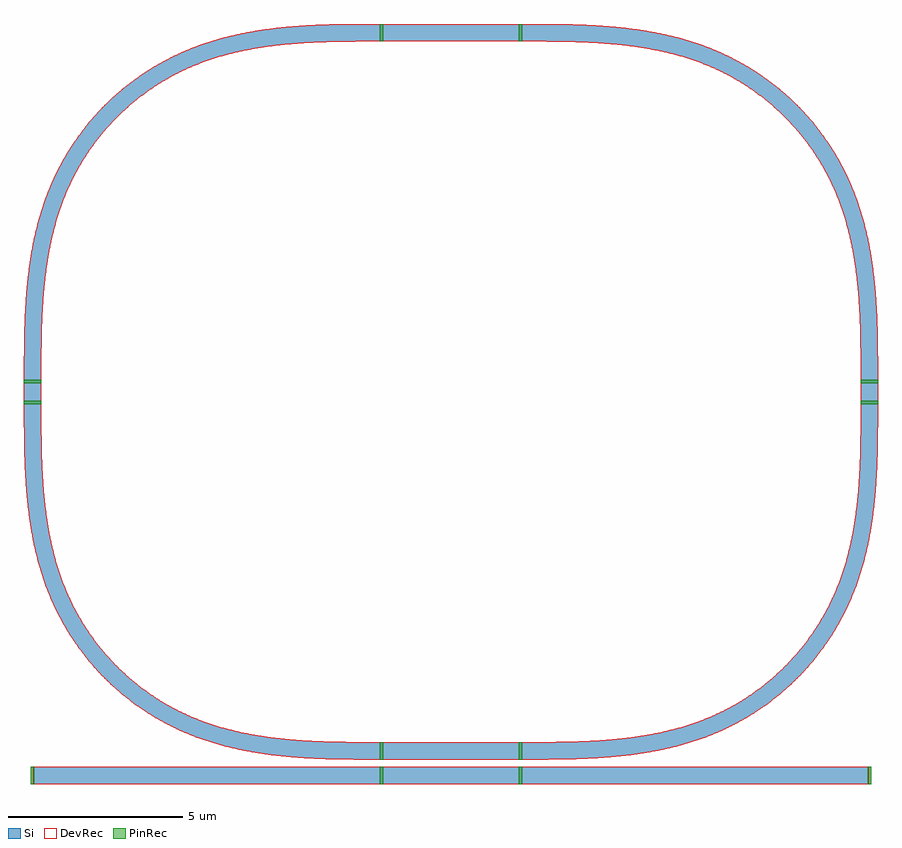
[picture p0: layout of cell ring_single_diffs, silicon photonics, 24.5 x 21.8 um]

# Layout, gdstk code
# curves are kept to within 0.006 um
import gdstk
lib = gdstk.Library(unit=1e-6, precision=1e-09)
def R(c, l, rs):  # rectangles x0, y0, x1, y1
    for r in rs: c.add(gdstk.rectangle(r[:2], r[2:], *l))
def P(c, l, *ps):  # polygons
    for p in ps: c.add(gdstk.Polygon(p, *l))
Si = (1, 0)
PinRec = (1, 10)
DevRec = (68, 0)

ring_single_old = lib.new_cell('ring_single_old')
R(ring_single_old, Si, [(-14,-0.25,-4,0.25), (-4,-0.25,0,0.25), (0,-0.25,10,0.25), (-4,0.45,0,0.95), (-14.25,10.7,-13.75,11.3), (9.75,10.7,10.25,11.3), (-4,21.05,0,21.55)])
P(ring_single_old, Si, [(-4.047,0.45),(-4.935,0.453),(-5.686,0.47),(-6.346,0.504),(-7.007,0.564),(-7.573,0.642),(-8.229,0.769),(-8.739,0.901),(-9.261,1.072),(-7.041,1.072),(-6.449,1.013),(-5.761,0.973),(-4.929,0.953),(-4,0.95),(-4,0.45)],
  [(-9.287,1.082),(-9.691,1.244),(-10.13,1.454),(-10.512,1.667),(-10.841,1.876),(-11.196,2.131),(-11.536,2.407),(-11.859,2.703),(-12.117,2.968),(-11.412,2.968),(-11.175,2.756),(-10.857,2.501),(-10.599,2.316),(-10.333,2.144),(-10.059,1.983),(-9.778,1.836),(-9.449,1.684),(-9.156,1.566),(-8.729,1.42),(-8.206,1.277),(-7.583,1.15),(-7.041,1.072),(-9.261,1.072)],
  [(-12.13,2.982),(-12.479,3.389),(-12.797,3.819),(-13.033,4.188),(-13.29,4.657),(-13.513,5.144),(-13.683,5.594),(-13.838,6.1),(-13.962,6.611),(-13.45,6.611),(-13.306,6.057),(-13.134,5.544),(-12.961,5.127),(-12.717,4.641),(-12.434,4.176),(-12.116,3.735),(-11.763,3.321),(-11.412,2.968),(-12.117,2.968)],
  [(-13.972,6.658),(-14.058,7.127),(-14.113,7.504),(-14.156,7.882),(-14.196,8.354),(-14.236,9.202),(-14.25,10.7),(-13.75,10.7),(-13.74,9.354),(-13.721,8.801),(-13.694,8.343),(-13.654,7.886),(-13.605,7.478),(-13.55,7.117),(-13.45,6.611),(-13.962,6.611)],
  [(0.047,0.45),(0.935,0.453),(1.686,0.47),(2.346,0.504),(3.007,0.564),(3.573,0.642),(4.229,0.769),(4.739,0.901),(5.261,1.072),(3.041,1.072),(2.449,1.013),(1.761,0.973),(0.929,0.953),(0,0.95),(0,0.45)],
  [(5.287,1.082),(5.691,1.244),(6.13,1.454),(6.512,1.667),(6.841,1.876),(7.196,2.131),(7.536,2.407),(7.859,2.703),(8.117,2.968),(7.412,2.968),(7.175,2.756),(6.857,2.501),(6.599,2.316),(6.333,2.144),(6.059,1.983),(5.778,1.836),(5.449,1.684),(5.156,1.566),(4.729,1.42),(4.206,1.277),(3.583,1.15),(3.041,1.072),(5.261,1.072)],
  [(8.13,2.982),(8.479,3.389),(8.797,3.819),(9.033,4.188),(9.29,4.657),(9.513,5.144),(9.683,5.594),(9.838,6.1),(9.962,6.611),(9.45,6.611),(9.306,6.057),(9.134,5.544),(8.961,5.127),(8.717,4.641),(8.434,4.176),(8.116,3.735),(7.763,3.321),(7.412,2.968),(8.117,2.968)],
  [(9.972,6.658),(10.058,7.127),(10.113,7.504),(10.156,7.882),(10.196,8.354),(10.236,9.202),(10.25,10.7),(9.75,10.7),(9.74,9.354),(9.721,8.801),(9.694,8.343),(9.654,7.886),(9.605,7.478),(9.55,7.117),(9.45,6.611),(9.962,6.611)],
  [(10.25,11.347),(10.247,12.235),(10.23,12.986),(10.196,13.646),(10.136,14.307),(10.058,14.873),(9.931,15.529),(9.799,16.039),(9.628,16.561),(9.628,14.341),(9.687,13.749),(9.727,13.061),(9.747,12.229),(9.75,11.3),(10.25,11.3)],
  [(9.618,16.587),(9.456,16.991),(9.246,17.43),(9.033,17.812),(8.824,18.141),(8.569,18.496),(8.293,18.836),(7.997,19.159),(7.732,19.417),(7.732,18.712),(7.944,18.475),(8.199,18.157),(8.384,17.899),(8.556,17.633),(8.717,17.359),(8.864,17.078),(9.016,16.749),(9.134,16.456),(9.28,16.029),(9.423,15.506),(9.55,14.883),(9.628,14.341),(9.628,16.561)],
  [(7.718,19.43),(7.311,19.779),(6.881,20.097),(6.512,20.333),(6.043,20.59),(5.556,20.813),(5.106,20.983),(4.6,21.138),(4.089,21.262),(4.089,20.75),(4.643,20.606),(5.156,20.434),(5.573,20.261),(6.059,20.017),(6.524,19.734),(6.965,19.416),(7.379,19.063),(7.732,18.712),(7.732,19.417)],
  [(4.042,21.272),(3.573,21.358),(3.196,21.413),(2.818,21.456),(2.346,21.496),(1.498,21.536),(0,21.55),(0,21.05),(1.346,21.04),(1.899,21.021),(2.357,20.994),(2.814,20.954),(3.222,20.905),(3.583,20.85),(4.089,20.75),(4.089,21.262)],
  [(-4.047,21.55),(-4.935,21.547),(-5.686,21.53),(-6.346,21.496),(-7.007,21.436),(-7.573,21.358),(-8.229,21.231),(-8.739,21.099),(-9.261,20.928),(-7.041,20.928),(-6.449,20.987),(-5.761,21.027),(-4.929,21.047),(-4,21.05),(-4,21.55)],
  [(-9.287,20.918),(-9.691,20.756),(-10.13,20.546),(-10.512,20.333),(-10.841,20.124),(-11.196,19.869),(-11.536,19.593),(-11.859,19.297),(-12.117,19.032),(-11.412,19.032),(-11.175,19.244),(-10.857,19.499),(-10.599,19.684),(-10.333,19.856),(-10.059,20.017),(-9.778,20.164),(-9.449,20.316),(-9.156,20.434),(-8.729,20.58),(-8.206,20.723),(-7.583,20.85),(-7.041,20.928),(-9.261,20.928)],
  [(-12.13,19.018),(-12.479,18.611),(-12.797,18.181),(-13.033,17.812),(-13.29,17.343),(-13.513,16.856),(-13.683,16.406),(-13.838,15.9),(-13.962,15.389),(-13.45,15.389),(-13.306,15.943),(-13.134,16.456),(-12.961,16.873),(-12.717,17.359),(-12.434,17.824),(-12.116,18.265),(-11.763,18.679),(-11.412,19.032),(-12.117,19.032)],
  [(-13.972,15.342),(-14.058,14.873),(-14.113,14.496),(-14.156,14.118),(-14.196,13.646),(-14.236,12.798),(-14.25,11.3),(-13.75,11.3),(-13.74,12.646),(-13.721,13.199),(-13.694,13.657),(-13.654,14.114),(-13.605,14.522),(-13.55,14.883),(-13.45,15.389),(-13.962,15.389)])
ring_single_old.add(gdstk.FlexPath([(-4.05,0.7),(-3.95,0.7)], 0.5, ends="flush", simple_path=True, layer=1, datatype=10))  # PinRec
ring_single_old.add(gdstk.FlexPath([(-14,10.65),(-14,10.75)], 0.5, ends="flush", simple_path=True, layer=1, datatype=10))  # PinRec
ring_single_old.add(gdstk.FlexPath([(-4.05,0),(-3.95,0)], 0.5, ends="flush", simple_path=True, layer=1, datatype=10))  # PinRec
ring_single_old.add(gdstk.FlexPath([(-13.95,0),(-14.05,0)], 0.5, ends="flush", simple_path=True, layer=1, datatype=10))  # PinRec
ring_single_old.add(gdstk.FlexPath([(0.05,0.7),(-0.05,0.7)], 0.5, ends="flush", simple_path=True, layer=1, datatype=10))  # PinRec
ring_single_old.add(gdstk.FlexPath([(10,10.65),(10,10.75)], 0.5, ends="flush", simple_path=True, layer=1, datatype=10))  # PinRec
ring_single_old.add(gdstk.FlexPath([(0.05,0),(-0.05,0)], 0.5, ends="flush", simple_path=True, layer=1, datatype=10))  # PinRec
ring_single_old.add(gdstk.FlexPath([(9.95,0),(10.05,0)], 0.5, ends="flush", simple_path=True, layer=1, datatype=10))  # PinRec
ring_single_old.add(gdstk.FlexPath([(-3.95,0.7),(-4.05,0.7)], 0.5, ends="flush", simple_path=True, layer=1, datatype=10))  # PinRec
ring_single_old.add(gdstk.FlexPath([(-0.05,0.7),(0.05,0.7)], 0.5, ends="flush", simple_path=True, layer=1, datatype=10))  # PinRec
ring_single_old.add(gdstk.FlexPath([(-3.95,0),(-4.05,0)], 0.5, ends="flush", simple_path=True, layer=1, datatype=10))  # PinRec
ring_single_old.add(gdstk.FlexPath([(-0.05,0),(0.05,0)], 0.5, ends="flush", simple_path=True, layer=1, datatype=10))  # PinRec
ring_single_old.add(gdstk.FlexPath([(-0.05,21.3),(0.05,21.3)], 0.5, ends="flush", simple_path=True, layer=1, datatype=10))  # PinRec
ring_single_old.add(gdstk.FlexPath([(-3.95,21.3),(-4.05,21.3)], 0.5, ends="flush", simple_path=True, layer=1, datatype=10))  # PinRec
ring_single_old.add(gdstk.FlexPath([(10,11.35),(10,11.25)], 0.5, ends="flush", simple_path=True, layer=1, datatype=10))  # PinRec
ring_single_old.add(gdstk.FlexPath([(0.05,21.3),(-0.05,21.3)], 0.5, ends="flush", simple_path=True, layer=1, datatype=10))  # PinRec
ring_single_old.add(gdstk.FlexPath([(-4.05,21.3),(-3.95,21.3)], 0.5, ends="flush", simple_path=True, layer=1, datatype=10))  # PinRec
ring_single_old.add(gdstk.FlexPath([(-14,11.35),(-14,11.25)], 0.5, ends="flush", simple_path=True, layer=1, datatype=10))  # PinRec
ring_single_old.add(gdstk.FlexPath([(10,11.25),(10,11.35)], 0.5, ends="flush", simple_path=True, layer=1, datatype=10))  # PinRec
ring_single_old.add(gdstk.FlexPath([(10,10.75),(10,10.65)], 0.5, ends="flush", simple_path=True, layer=1, datatype=10))  # PinRec
ring_single_old.add(gdstk.FlexPath([(-14,10.75),(-14,10.65)], 0.5, ends="flush", simple_path=True, layer=1, datatype=10))  # PinRec
ring_single_old.add(gdstk.FlexPath([(-14,11.25),(-14,11.35)], 0.5, ends="flush", simple_path=True, layer=1, datatype=10))  # PinRec
ring_single_old.add(gdstk.Label('o1', (-4,0.7), layer=1, texttype=10))
ring_single_old.add(gdstk.Label('o2', (-14,10.7), layer=1, texttype=10))
ring_single_old.add(gdstk.Label('o1', (-4,0), layer=1, texttype=10))
ring_single_old.add(gdstk.Label('o2', (-14,0), layer=1, texttype=10))
ring_single_old.add(gdstk.Label('o1', (0,0.7), layer=1, texttype=10))
ring_single_old.add(gdstk.Label('o2', (10,10.7), layer=1, texttype=10))
ring_single_old.add(gdstk.Label('o1', (0,0), layer=1, texttype=10))
ring_single_old.add(gdstk.Label('o2', (10,0), layer=1, texttype=10))
ring_single_old.add(gdstk.Label('o1', (-4,0.7), layer=1, texttype=10))
ring_single_old.add(gdstk.Label('o2', (0,0.7), layer=1, texttype=10))
ring_single_old.add(gdstk.Label('o1', (-4,0), layer=1, texttype=10))
ring_single_old.add(gdstk.Label('o2', (0,0), layer=1, texttype=10))
ring_single_old.add(gdstk.Label('o1', (0,21.3), layer=1, texttype=10))
ring_single_old.add(gdstk.Label('o2', (-4,21.3), layer=1, texttype=10))
ring_single_old.add(gdstk.Label('o1', (10,11.3), layer=1, texttype=10))
ring_single_old.add(gdstk.Label('o2', (0,21.3), layer=1, texttype=10))
ring_single_old.add(gdstk.Label('o1', (-4,21.3), layer=1, texttype=10))
ring_single_old.add(gdstk.Label('o2', (-14,11.3), layer=1, texttype=10))
ring_single_old.add(gdstk.Label('o1', (10,11.3), layer=1, texttype=10))
ring_single_old.add(gdstk.Label('o2', (10,10.7), layer=1, texttype=10))
ring_single_old.add(gdstk.Label('o1', (-14,10.7), layer=1, texttype=10))
ring_single_old.add(gdstk.Label('o2', (-14,11.3), layer=1, texttype=10))

ring_single_new = lib.new_cell('ring_single_new')
R(ring_single_new, Si, [(-14,-0.25,-4,0.25), (-4,-0.25,0,0.25), (0,-0.25,10,0.25), (-4,0.45,0,0.95), (-14.25,10.7,-13.75,11.3), (9.75,10.7,10.25,11.3), (-4,21.05,0,21.55)])
P(ring_single_new, Si, [(-4.047,0.45),(-4.935,0.453),(-5.686,0.47),(-6.346,0.504),(-7.007,0.564),(-7.573,0.642),(-8.229,0.769),(-8.739,0.901),(-9.261,1.072),(-7.041,1.072),(-6.449,1.013),(-5.761,0.973),(-4.929,0.953),(-4,0.95),(-4,0.45)],
  [(-9.287,1.082),(-9.691,1.244),(-10.13,1.454),(-10.512,1.667),(-10.841,1.876),(-11.196,2.131),(-11.536,2.407),(-11.859,2.703),(-12.117,2.968),(-11.412,2.968),(-11.175,2.756),(-10.857,2.501),(-10.599,2.316),(-10.333,2.144),(-10.059,1.983),(-9.778,1.836),(-9.449,1.684),(-9.156,1.566),(-8.729,1.42),(-8.206,1.277),(-7.583,1.15),(-7.041,1.072),(-9.261,1.072)],
  [(-12.13,2.982),(-12.479,3.389),(-12.797,3.819),(-13.033,4.188),(-13.29,4.657),(-13.513,5.144),(-13.683,5.594),(-13.838,6.1),(-13.962,6.611),(-13.45,6.611),(-13.306,6.057),(-13.134,5.544),(-12.961,5.127),(-12.717,4.641),(-12.434,4.176),(-12.116,3.735),(-11.763,3.321),(-11.412,2.968),(-12.117,2.968)],
  [(-13.972,6.658),(-14.058,7.127),(-14.113,7.504),(-14.156,7.882),(-14.196,8.354),(-14.236,9.202),(-14.25,10.7),(-13.75,10.7),(-13.74,9.354),(-13.721,8.801),(-13.694,8.343),(-13.654,7.886),(-13.605,7.478),(-13.55,7.117),(-13.45,6.611),(-13.962,6.611)],
  [(0.047,0.45),(0.935,0.453),(1.686,0.47),(2.346,0.504),(3.007,0.564),(3.573,0.642),(4.229,0.769),(4.739,0.901),(5.261,1.072),(3.041,1.072),(2.449,1.013),(1.761,0.973),(0.929,0.953),(0,0.95),(0,0.45)],
  [(5.287,1.082),(5.691,1.244),(6.13,1.454),(6.512,1.667),(6.841,1.876),(7.196,2.131),(7.536,2.407),(7.859,2.703),(8.117,2.968),(7.412,2.968),(7.175,2.756),(6.857,2.501),(6.599,2.316),(6.333,2.144),(6.059,1.983),(5.778,1.836),(5.449,1.684),(5.156,1.566),(4.729,1.42),(4.206,1.277),(3.583,1.15),(3.041,1.072),(5.261,1.072)],
  [(8.13,2.982),(8.479,3.389),(8.797,3.819),(9.033,4.188),(9.29,4.657),(9.513,5.144),(9.683,5.594),(9.838,6.1),(9.962,6.611),(9.45,6.611),(9.306,6.057),(9.134,5.544),(8.961,5.127),(8.717,4.641),(8.434,4.176),(8.116,3.735),(7.763,3.321),(7.412,2.968),(8.117,2.968)],
  [(9.972,6.658),(10.058,7.127),(10.113,7.504),(10.156,7.882),(10.196,8.354),(10.236,9.202),(10.25,10.7),(9.75,10.7),(9.74,9.354),(9.721,8.801),(9.694,8.343),(9.654,7.886),(9.605,7.478),(9.55,7.117),(9.45,6.611),(9.962,6.611)],
  [(10.25,11.347),(10.247,12.235),(10.23,12.986),(10.196,13.646),(10.136,14.307),(10.058,14.873),(9.931,15.529),(9.799,16.039),(9.628,16.561),(9.628,14.341),(9.687,13.749),(9.727,13.061),(9.747,12.229),(9.75,11.3),(10.25,11.3)],
  [(9.618,16.587),(9.456,16.991),(9.246,17.43),(9.033,17.812),(8.824,18.141),(8.569,18.496),(8.293,18.836),(7.997,19.159),(7.732,19.417),(7.732,18.712),(7.944,18.475),(8.199,18.157),(8.384,17.899),(8.556,17.633),(8.717,17.359),(8.864,17.078),(9.016,16.749),(9.134,16.456),(9.28,16.029),(9.423,15.506),(9.55,14.883),(9.628,14.341),(9.628,16.561)],
  [(7.718,19.43),(7.311,19.779),(6.881,20.097),(6.512,20.333),(6.043,20.59),(5.556,20.813),(5.106,20.983),(4.6,21.138),(4.089,21.262),(4.089,20.75),(4.643,20.606),(5.156,20.434),(5.573,20.261),(6.059,20.017),(6.524,19.734),(6.965,19.416),(7.379,19.063),(7.732,18.712),(7.732,19.417)],
  [(4.042,21.272),(3.573,21.358),(3.196,21.413),(2.818,21.456),(2.346,21.496),(1.498,21.536),(0,21.55),(0,21.05),(1.346,21.04),(1.899,21.021),(2.357,20.994),(2.814,20.954),(3.222,20.905),(3.583,20.85),(4.089,20.75),(4.089,21.262)],
  [(-4.047,21.55),(-4.935,21.547),(-5.686,21.53),(-6.346,21.496),(-7.007,21.436),(-7.573,21.358),(-8.229,21.231),(-8.739,21.099),(-9.261,20.928),(-7.041,20.928),(-6.449,20.987),(-5.761,21.027),(-4.929,21.047),(-4,21.05),(-4,21.55)],
  [(-9.287,20.918),(-9.691,20.756),(-10.13,20.546),(-10.512,20.333),(-10.841,20.124),(-11.196,19.869),(-11.536,19.593),(-11.859,19.297),(-12.117,19.032),(-11.412,19.032),(-11.175,19.244),(-10.857,19.499),(-10.599,19.684),(-10.333,19.856),(-10.059,20.017),(-9.778,20.164),(-9.449,20.316),(-9.156,20.434),(-8.729,20.58),(-8.206,20.723),(-7.583,20.85),(-7.041,20.928),(-9.261,20.928)],
  [(-12.13,19.018),(-12.479,18.611),(-12.797,18.181),(-13.033,17.812),(-13.29,17.343),(-13.513,16.856),(-13.683,16.406),(-13.838,15.9),(-13.962,15.389),(-13.45,15.389),(-13.306,15.943),(-13.134,16.456),(-12.961,16.873),(-12.717,17.359),(-12.434,17.824),(-12.116,18.265),(-11.763,18.679),(-11.412,19.032),(-12.117,19.032)],
  [(-13.972,15.342),(-14.058,14.873),(-14.113,14.496),(-14.156,14.118),(-14.196,13.646),(-14.236,12.798),(-14.25,11.3),(-13.75,11.3),(-13.74,12.646),(-13.721,13.199),(-13.694,13.657),(-13.654,14.114),(-13.605,14.522),(-13.55,14.883),(-13.45,15.389),(-13.962,15.389)])
R(ring_single_new, DevRec, [(-14,-0.25,-4,0.25), (-4,-0.25,0,0.25), (0,-0.25,10,0.25), (-4,0.45,0,0.95), (-14.25,10.7,-13.75,11.3), (9.75,10.7,10.25,11.3), (-4,21.05,0,21.55)])
P(ring_single_new, DevRec, [(-4.047,0.45),(-4.935,0.453),(-5.686,0.47),(-6.346,0.504),(-7.007,0.564),(-7.573,0.642),(-8.229,0.769),(-8.739,0.901),(-9.261,1.072),(-7.041,1.072),(-6.449,1.013),(-5.761,0.973),(-4.929,0.953),(-4,0.95),(-4,0.45)],
  [(-9.287,1.082),(-9.691,1.244),(-10.13,1.454),(-10.512,1.667),(-10.841,1.876),(-11.196,2.131),(-11.536,2.407),(-11.859,2.703),(-12.117,2.968),(-11.412,2.968),(-11.175,2.756),(-10.857,2.501),(-10.599,2.316),(-10.333,2.144),(-10.059,1.983),(-9.778,1.836),(-9.449,1.684),(-9.156,1.566),(-8.729,1.42),(-8.206,1.277),(-7.583,1.15),(-7.041,1.072),(-9.261,1.072)],
  [(-12.13,2.982),(-12.479,3.389),(-12.797,3.819),(-13.033,4.188),(-13.29,4.657),(-13.513,5.144),(-13.683,5.594),(-13.838,6.1),(-13.962,6.611),(-13.45,6.611),(-13.306,6.057),(-13.134,5.544),(-12.961,5.127),(-12.717,4.641),(-12.434,4.176),(-12.116,3.735),(-11.763,3.321),(-11.412,2.968),(-12.117,2.968)],
  [(-13.972,6.658),(-14.058,7.127),(-14.113,7.504),(-14.156,7.882),(-14.196,8.354),(-14.236,9.202),(-14.25,10.7),(-13.75,10.7),(-13.74,9.354),(-13.721,8.801),(-13.694,8.343),(-13.654,7.886),(-13.605,7.478),(-13.55,7.117),(-13.45,6.611),(-13.962,6.611)],
  [(0.047,0.45),(0.935,0.453),(1.686,0.47),(2.346,0.504),(3.007,0.564),(3.573,0.642),(4.229,0.769),(4.739,0.901),(5.261,1.072),(3.041,1.072),(2.449,1.013),(1.761,0.973),(0.929,0.953),(0,0.95),(0,0.45)],
  [(5.287,1.082),(5.691,1.244),(6.13,1.454),(6.512,1.667),(6.841,1.876),(7.196,2.131),(7.536,2.407),(7.859,2.703),(8.117,2.968),(7.412,2.968),(7.175,2.756),(6.857,2.501),(6.599,2.316),(6.333,2.144),(6.059,1.983),(5.778,1.836),(5.449,1.684),(5.156,1.566),(4.729,1.42),(4.206,1.277),(3.583,1.15),(3.041,1.072),(5.261,1.072)],
  [(8.13,2.982),(8.479,3.389),(8.797,3.819),(9.033,4.188),(9.29,4.657),(9.513,5.144),(9.683,5.594),(9.838,6.1),(9.962,6.611),(9.45,6.611),(9.306,6.057),(9.134,5.544),(8.961,5.127),(8.717,4.641),(8.434,4.176),(8.116,3.735),(7.763,3.321),(7.412,2.968),(8.117,2.968)],
  [(9.972,6.658),(10.058,7.127),(10.113,7.504),(10.156,7.882),(10.196,8.354),(10.236,9.202),(10.25,10.7),(9.75,10.7),(9.74,9.354),(9.721,8.801),(9.694,8.343),(9.654,7.886),(9.605,7.478),(9.55,7.117),(9.45,6.611),(9.962,6.611)],
  [(10.25,11.347),(10.247,12.235),(10.23,12.986),(10.196,13.646),(10.136,14.307),(10.058,14.873),(9.931,15.529),(9.799,16.039),(9.628,16.561),(9.628,14.341),(9.687,13.749),(9.727,13.061),(9.747,12.229),(9.75,11.3),(10.25,11.3)],
  [(9.618,16.587),(9.456,16.991),(9.246,17.43),(9.033,17.812),(8.824,18.141),(8.569,18.496),(8.293,18.836),(7.997,19.159),(7.732,19.417),(7.732,18.712),(7.944,18.475),(8.199,18.157),(8.384,17.899),(8.556,17.633),(8.717,17.359),(8.864,17.078),(9.016,16.749),(9.134,16.456),(9.28,16.029),(9.423,15.506),(9.55,14.883),(9.628,14.341),(9.628,16.561)],
  [(7.718,19.43),(7.311,19.779),(6.881,20.097),(6.512,20.333),(6.043,20.59),(5.556,20.813),(5.106,20.983),(4.6,21.138),(4.089,21.262),(4.089,20.75),(4.643,20.606),(5.156,20.434),(5.573,20.261),(6.059,20.017),(6.524,19.734),(6.965,19.416),(7.379,19.063),(7.732,18.712),(7.732,19.417)],
  [(4.042,21.272),(3.573,21.358),(3.196,21.413),(2.818,21.456),(2.346,21.496),(1.498,21.536),(0,21.55),(0,21.05),(1.346,21.04),(1.899,21.021),(2.357,20.994),(2.814,20.954),(3.222,20.905),(3.583,20.85),(4.089,20.75),(4.089,21.262)],
  [(-4.047,21.55),(-4.935,21.547),(-5.686,21.53),(-6.346,21.496),(-7.007,21.436),(-7.573,21.358),(-8.229,21.231),(-8.739,21.099),(-9.261,20.928),(-7.041,20.928),(-6.449,20.987),(-5.761,21.027),(-4.929,21.047),(-4,21.05),(-4,21.55)],
  [(-9.287,20.918),(-9.691,20.756),(-10.13,20.546),(-10.512,20.333),(-10.841,20.124),(-11.196,19.869),(-11.536,19.593),(-11.859,19.297),(-12.117,19.032),(-11.412,19.032),(-11.175,19.244),(-10.857,19.499),(-10.599,19.684),(-10.333,19.856),(-10.059,20.017),(-9.778,20.164),(-9.449,20.316),(-9.156,20.434),(-8.729,20.58),(-8.206,20.723),(-7.583,20.85),(-7.041,20.928),(-9.261,20.928)],
  [(-12.13,19.018),(-12.479,18.611),(-12.797,18.181),(-13.033,17.812),(-13.29,17.343),(-13.513,16.856),(-13.683,16.406),(-13.838,15.9),(-13.962,15.389),(-13.45,15.389),(-13.306,15.943),(-13.134,16.456),(-12.961,16.873),(-12.717,17.359),(-12.434,17.824),(-12.116,18.265),(-11.763,18.679),(-11.412,19.032),(-12.117,19.032)],
  [(-13.972,15.342),(-14.058,14.873),(-14.113,14.496),(-14.156,14.118),(-14.196,13.646),(-14.236,12.798),(-14.25,11.3),(-13.75,11.3),(-13.74,12.646),(-13.721,13.199),(-13.694,13.657),(-13.654,14.114),(-13.605,14.522),(-13.55,14.883),(-13.45,15.389),(-13.962,15.389)])
ring_single_new.add(gdstk.FlexPath([(-4.05,0.7),(-3.95,0.7)], 0.5, ends="flush", simple_path=True, layer=1, datatype=10))  # PinRec
ring_single_new.add(gdstk.FlexPath([(-14,10.65),(-14,10.75)], 0.5, ends="flush", simple_path=True, layer=1, datatype=10))  # PinRec
ring_single_new.add(gdstk.FlexPath([(-4.05,0),(-3.95,0)], 0.5, ends="flush", simple_path=True, layer=1, datatype=10))  # PinRec
ring_single_new.add(gdstk.FlexPath([(-13.95,0),(-14.05,0)], 0.5, ends="flush", simple_path=True, layer=1, datatype=10))  # PinRec
ring_single_new.add(gdstk.FlexPath([(0.05,0.7),(-0.05,0.7)], 0.5, ends="flush", simple_path=True, layer=1, datatype=10))  # PinRec
ring_single_new.add(gdstk.FlexPath([(10,10.65),(10,10.75)], 0.5, ends="flush", simple_path=True, layer=1, datatype=10))  # PinRec
ring_single_new.add(gdstk.FlexPath([(0.05,0),(-0.05,0)], 0.5, ends="flush", simple_path=True, layer=1, datatype=10))  # PinRec
ring_single_new.add(gdstk.FlexPath([(9.95,0),(10.05,0)], 0.5, ends="flush", simple_path=True, layer=1, datatype=10))  # PinRec
ring_single_new.add(gdstk.FlexPath([(-3.95,0.7),(-4.05,0.7)], 0.5, ends="flush", simple_path=True, layer=1, datatype=10))  # PinRec
ring_single_new.add(gdstk.FlexPath([(-0.05,0.7),(0.05,0.7)], 0.5, ends="flush", simple_path=True, layer=1, datatype=10))  # PinRec
ring_single_new.add(gdstk.FlexPath([(-3.95,0),(-4.05,0)], 0.5, ends="flush", simple_path=True, layer=1, datatype=10))  # PinRec
ring_single_new.add(gdstk.FlexPath([(-0.05,0),(0.05,0)], 0.5, ends="flush", simple_path=True, layer=1, datatype=10))  # PinRec
ring_single_new.add(gdstk.FlexPath([(-0.05,21.3),(0.05,21.3)], 0.5, ends="flush", simple_path=True, layer=1, datatype=10))  # PinRec
ring_single_new.add(gdstk.FlexPath([(-3.95,21.3),(-4.05,21.3)], 0.5, ends="flush", simple_path=True, layer=1, datatype=10))  # PinRec
ring_single_new.add(gdstk.FlexPath([(10,11.35),(10,11.25)], 0.5, ends="flush", simple_path=True, layer=1, datatype=10))  # PinRec
ring_single_new.add(gdstk.FlexPath([(0.05,21.3),(-0.05,21.3)], 0.5, ends="flush", simple_path=True, layer=1, datatype=10))  # PinRec
ring_single_new.add(gdstk.FlexPath([(-4.05,21.3),(-3.95,21.3)], 0.5, ends="flush", simple_path=True, layer=1, datatype=10))  # PinRec
ring_single_new.add(gdstk.FlexPath([(-14,11.35),(-14,11.25)], 0.5, ends="flush", simple_path=True, layer=1, datatype=10))  # PinRec
ring_single_new.add(gdstk.FlexPath([(10,11.25),(10,11.35)], 0.5, ends="flush", simple_path=True, layer=1, datatype=10))  # PinRec
ring_single_new.add(gdstk.FlexPath([(10,10.75),(10,10.65)], 0.5, ends="flush", simple_path=True, layer=1, datatype=10))  # PinRec
ring_single_new.add(gdstk.FlexPath([(-14,10.75),(-14,10.65)], 0.5, ends="flush", simple_path=True, layer=1, datatype=10))  # PinRec
ring_single_new.add(gdstk.FlexPath([(-14,11.25),(-14,11.35)], 0.5, ends="flush", simple_path=True, layer=1, datatype=10))  # PinRec
ring_single_new.add(gdstk.Label('o1', (-4,0.7), layer=1, texttype=10))
ring_single_new.add(gdstk.Label('o2', (-14,10.7), layer=1, texttype=10))
ring_single_new.add(gdstk.Label('o1', (-4,0), layer=1, texttype=10))
ring_single_new.add(gdstk.Label('o2', (-14,0), layer=1, texttype=10))
ring_single_new.add(gdstk.Label('o1', (0,0.7), layer=1, texttype=10))
ring_single_new.add(gdstk.Label('o2', (10,10.7), layer=1, texttype=10))
ring_single_new.add(gdstk.Label('o1', (0,0), layer=1, texttype=10))
ring_single_new.add(gdstk.Label('o2', (10,0), layer=1, texttype=10))
ring_single_new.add(gdstk.Label('o1', (-4,0.7), layer=1, texttype=10))
ring_single_new.add(gdstk.Label('o2', (0,0.7), layer=1, texttype=10))
ring_single_new.add(gdstk.Label('o1', (-4,0), layer=1, texttype=10))
ring_single_new.add(gdstk.Label('o2', (0,0), layer=1, texttype=10))
ring_single_new.add(gdstk.Label('o1', (0,21.3), layer=1, texttype=10))
ring_single_new.add(gdstk.Label('o2', (-4,21.3), layer=1, texttype=10))
ring_single_new.add(gdstk.Label('o1', (10,11.3), layer=1, texttype=10))
ring_single_new.add(gdstk.Label('o2', (0,21.3), layer=1, texttype=10))
ring_single_new.add(gdstk.Label('o1', (-4,21.3), layer=1, texttype=10))
ring_single_new.add(gdstk.Label('o2', (-14,11.3), layer=1, texttype=10))
ring_single_new.add(gdstk.Label('o1', (10,11.3), layer=1, texttype=10))
ring_single_new.add(gdstk.Label('o2', (10,10.7), layer=1, texttype=10))
ring_single_new.add(gdstk.Label('o1', (-14,10.7), layer=1, texttype=10))
ring_single_new.add(gdstk.Label('o2', (-14,11.3), layer=1, texttype=10))

ring_single_diffs = lib.new_cell('ring_single_diffs')
ring_single_diffs.add(gdstk.Reference(ring_single_old, (0,0)))
ring_single_diffs.add(gdstk.Reference(ring_single_new, (0,0)))

lib.write_gds('ring_single_diffs.gds')
